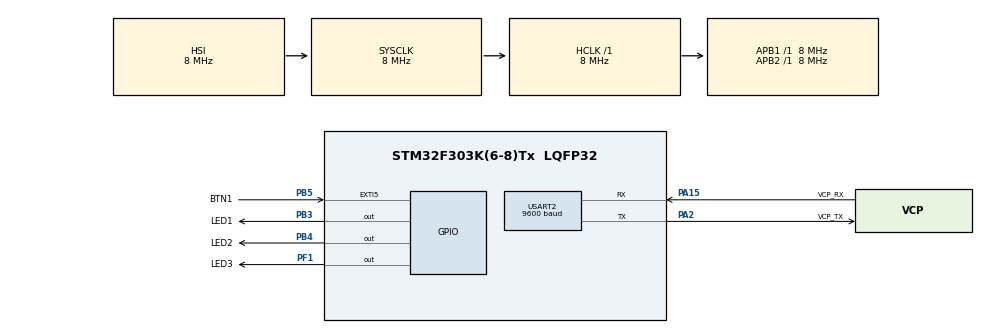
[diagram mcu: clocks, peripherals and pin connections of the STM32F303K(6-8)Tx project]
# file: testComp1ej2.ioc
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Mcu.Family=STM32F3
Mcu.Name=STM32F303K(6-8)Tx
Mcu.Package=LQFP32
NVIC.EXTI9_5_IRQn=true\:0\:0\:false\:false\:true\:true\:true\:true
NVIC.PriorityGroup=NVIC_PRIORITYGROUP_4
NVIC.USART2_IRQn=true\:0\:0\:false\:false\:true\:true\:true\:true
PA13.GPIO_Label=SWDIO
PA13.Signal=SYS_JTMS-SWDIO
PA14.GPIO_Label=SWCLK
PA14.Signal=SYS_JTCK-SWCLK
PA15.GPIO_Label=VCP_RX
PA15.Mode=Asynchronous
PA15.Signal=USART2_RX
PA2.GPIO_Label=VCP_TX
PA2.Mode=Asynchronous
PA2.Signal=USART2_TX
PB3.GPIO_Label=LED1
PB3.Signal=GPIO_Output
PB4.GPIO_Label=LED2
PB4.Signal=GPIO_Output
PB5.GPIO_Label=BTN1
PB5.GPIO_ModeDefaultEXTI=GPIO_MODE_IT_FALLING
PB5.Signal=GPXTI5
PF0\ /\ OSC_IN.GPIO_Label=MCO
PF0\ /\ OSC_IN.Signal=RCC_OSC_IN
PF1\ /\ OSC_OUT.GPIO_Label=LED3
PF1\ /\ OSC_OUT.Signal=GPIO_Output
ProjectManager.HeapSize=0x200
ProjectManager.StackSize=0x400
ProjectManager.TargetToolchain=STM32CubeIDE
RCC.AHBFreq_Value=8000000
RCC.APB1Freq_Value=8000000
RCC.APB2Freq_Value=8000000
RCC.CortexFreq_Value=8000000
RCC.HSE_VALUE=8000000
RCC.HSI_VALUE=8000000
RCC.SYSCLKFreq_VALUE=8000000
USART2.BaudRate=9600
USART2.VirtualMode-Asynchronous=VM_ASYNC
board=NUCLEO-F303K8

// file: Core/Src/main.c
/* USER CODE BEGIN Header */
/**
  ******************************************************************************
  * @file           : main.c
  * @brief          : Main program body
  ******************************************************************************
  * @attention
  *
  * Copyright (c) 2025 STMicroelectronics.
  * All rights reserved.
  *
  * This software is licensed under terms that can be found in the LICENSE file
  * in the root directory of this software component.
  * If no LICENSE file comes with this software, it is provided AS-IS.
  *
  ******************************************************************************
  */
/* USER CODE END Header */
#include "main.h"

/* USER CODE BEGIN Includes */
#include <string.h>
#include <stdbool.h>
/* USER CODE END Includes */

/* USER CODE BEGIN PD */
#define DB_TIME 250
/* USER CODE END PD */

UART_HandleTypeDef huart2;

/* USER CODE BEGIN PV */
unsigned long lastState = 0;
uint8_t mainCounter = 0;
/* USER CODE END PV */

void SystemClock_Config(void);
static void MX_GPIO_Init(void);
static void MX_USART2_UART_Init(void);
/* USER CODE BEGIN PFP */
char* utoa(uint32_t value, char* buffer);
void printUtoa(uint32_t value);
void printMessages(uint8_t Index, int Fibo);
char* itoa(int value, char* buffer);
void printInt(int value);
int obtener_fibonacci(int indice);

/* USER CODE END PFP */

int main(void)
{

  /* MCU Configuration--------------------------------------------------------*/

  /* Reset of all peripherals, Initializes the Flash interface and the Systick. */
  HAL_Init();

  /* Configure the system clock */
  SystemClock_Config();

  /* Initialize all configured peripherals */
  MX_GPIO_Init();
  MX_USART2_UART_Init();

  /* Infinite loop */
  /* USER CODE BEGIN WHILE */
  printMessages(mainCounter, obtener_fibonacci(mainCounter));
  if ((obtener_fibonacci(mainCounter)) == 0){
	   HAL_GPIO_WritePin(LED1_GPIO_Port, LED1_Pin, RESET); // Bit 0
	   HAL_GPIO_WritePin(LED2_GPIO_Port, LED2_Pin, RESET); // Bit 1
	   HAL_GPIO_WritePin(LED3_GPIO_Port, LED3_Pin, RESET); // Bit 2
  	  	  }
  while (1)
  {
	  if ((obtener_fibonacci(mainCounter)) == 0){
		  HAL_GPIO_WritePin(LED1_GPIO_Port, LED1_Pin, RESET);
		  HAL_GPIO_WritePin(LED2_GPIO_Port, LED2_Pin, RESET);
		  HAL_GPIO_WritePin(LED3_GPIO_Port, LED3_Pin, RESET);
	  	  }
	  else if ((obtener_fibonacci(mainCounter) % 2)  == 0 && (obtener_fibonacci(mainCounter) < 10)){
		  HAL_GPIO_WritePin(LED1_GPIO_Port, LED1_Pin, SET);
		  HAL_GPIO_WritePin(LED2_GPIO_Port, LED2_Pin, RESET);
		  HAL_GPIO_WritePin(LED3_GPIO_Port, LED3_Pin, RESET);
	  }
	  else if ((obtener_fibonacci(mainCounter) % 2) != 0 && (obtener_fibonacci(mainCounter) < 10)){
		  HAL_GPIO_WritePin(LED1_GPIO_Port, LED1_Pin, RESET);
		  HAL_GPIO_WritePin(LED2_GPIO_Port, LED2_Pin, SET);
		  HAL_GPIO_WritePin(LED3_GPIO_Port, LED3_Pin, RESET);
	 }
	  else if ((obtener_fibonacci(mainCounter)) >= 10 ){
		  HAL_GPIO_WritePin(LED1_GPIO_Port, LED1_Pin, RESET);
		  HAL_GPIO_WritePin(LED2_GPIO_Port, LED2_Pin, RESET);
		  HAL_GPIO_WritePin(LED3_GPIO_Port, LED3_Pin, SET);
	  }
    /* USER CODE END WHILE */

  }
}

void SystemClock_Config(void)
{
  RCC_OscInitTypeDef RCC_OscInitStruct = {0};
  RCC_ClkInitTypeDef RCC_ClkInitStruct = {0};

  /** Initializes the RCC Oscillators according to the specified parameters
  * in the RCC_OscInitTypeDef structure.
  */
  RCC_OscInitStruct.OscillatorType = RCC_OSCILLATORTYPE_HSI;
  RCC_OscInitStruct.HSIState = RCC_HSI_ON;
  RCC_OscInitStruct.HSICalibrationValue = RCC_HSICALIBRATION_DEFAULT;
  RCC_OscInitStruct.PLL.PLLState = RCC_PLL_NONE;
  if (HAL_RCC_OscConfig(&RCC_OscInitStruct) != HAL_OK)
  {
    Error_Handler();
  }

  /** Initializes the CPU, AHB and APB buses clocks
  */
  RCC_ClkInitStruct.ClockType = RCC_CLOCKTYPE_HCLK|RCC_CLOCKTYPE_SYSCLK
                              |RCC_CLOCKTYPE_PCLK1|RCC_CLOCKTYPE_PCLK2;
  RCC_ClkInitStruct.SYSCLKSource = RCC_SYSCLKSOURCE_HSI;
  RCC_ClkInitStruct.AHBCLKDivider = RCC_SYSCLK_DIV1;
  RCC_ClkInitStruct.APB1CLKDivider = RCC_HCLK_DIV1;
  RCC_ClkInitStruct.APB2CLKDivider = RCC_HCLK_DIV1;

  if (HAL_RCC_ClockConfig(&RCC_ClkInitStruct, FLASH_LATENCY_0) != HAL_OK)
  {
    Error_Handler();
  }
}

static void MX_USART2_UART_Init(void)
{

  huart2.Instance = USART2;
  huart2.Init.BaudRate = 9600;
  huart2.Init.WordLength = UART_WORDLENGTH_8B;
  huart2.Init.StopBits = UART_STOPBITS_1;
  huart2.Init.Parity = UART_PARITY_NONE;
  huart2.Init.Mode = UART_MODE_TX_RX;
  huart2.Init.HwFlowCtl = UART_HWCONTROL_NONE;
  huart2.Init.OverSampling = UART_OVERSAMPLING_16;
  huart2.Init.OneBitSampling = UART_ONE_BIT_SAMPLE_DISABLE;
  huart2.AdvancedInit.AdvFeatureInit = UART_ADVFEATURE_NO_INIT;
  if (HAL_UART_Init(&huart2) != HAL_OK)
  {
    Error_Handler();
  }

}

static void MX_GPIO_Init(void)
{
  GPIO_InitTypeDef GPIO_InitStruct = {0};

  /* GPIO Ports Clock Enable */
  __HAL_RCC_GPIOF_CLK_ENABLE();
  __HAL_RCC_GPIOA_CLK_ENABLE();
  __HAL_RCC_GPIOB_CLK_ENABLE();

  /*Configure GPIO pin Output Level */
  HAL_GPIO_WritePin(LED3_GPIO_Port, LED3_Pin, GPIO_PIN_RESET);

  /*Configure GPIO pin Output Level */
  HAL_GPIO_WritePin(GPIOB, LED1_Pin|LED2_Pin, GPIO_PIN_RESET);

  /*Configure GPIO pin : LED3_Pin */
  GPIO_InitStruct.Pin = LED3_Pin;
  GPIO_InitStruct.Mode = GPIO_MODE_OUTPUT_PP;
  GPIO_InitStruct.Pull = GPIO_NOPULL;
  GPIO_InitStruct.Speed = GPIO_SPEED_FREQ_LOW;
  HAL_GPIO_Init(LED3_GPIO_Port, &GPIO_InitStruct);

  /*Configure GPIO pins : LED1_Pin LED2_Pin */
  GPIO_InitStruct.Pin = LED1_Pin|LED2_Pin;
  GPIO_InitStruct.Mode = GPIO_MODE_OUTPUT_PP;
  GPIO_InitStruct.Pull = GPIO_NOPULL;
  GPIO_InitStruct.Speed = GPIO_SPEED_FREQ_LOW;
  HAL_GPIO_Init(GPIOB, &GPIO_InitStruct);

  /*Configure GPIO pin : BTN1_Pin */
  GPIO_InitStruct.Pin = BTN1_Pin;
  GPIO_InitStruct.Mode = GPIO_MODE_IT_FALLING;
  GPIO_InitStruct.Pull = GPIO_NOPULL;
  HAL_GPIO_Init(BTN1_GPIO_Port, &GPIO_InitStruct);

  /* EXTI interrupt init*/
  HAL_NVIC_SetPriority(EXTI9_5_IRQn, 0, 0);
  HAL_NVIC_EnableIRQ(EXTI9_5_IRQn);

}

/* USER CODE BEGIN 4 */

void HAL_GPIO_EXTI_Callback(uint16_t GPIO_Pin)
{
	if (GPIO_Pin == GPIO_PIN_5) {
		if(HAL_GPIO_ReadPin(BTN1_GPIO_Port, BTN1_Pin) == 0){
			if ((HAL_GetTick() - lastState) > DB_TIME){
				if (mainCounter>=0 && mainCounter <7){
					mainCounter++;
					printMessages(mainCounter, obtener_fibonacci(mainCounter));
				}
				else {
					mainCounter=0;
					printMessages(mainCounter, obtener_fibonacci(mainCounter));
				}
			}
		  	lastState=HAL_GetTick();
		}
    }
}

int obtener_fibonacci(int indice) {
	if (indice == 0) return 0;
	if (indice == 1) return 1;
	int a = 0;
	int b = 1;
	int resultado = 0;
	for (int i = 2; i <= indice; i++) {
			resultado = a + b;
			a = b;
			b = resultado;
	}
	return resultado;
}

char* utoa(uint32_t value, char* buffer) {
    char* ptr = buffer;
    char* ptr1 = buffer;
    char tmp_char;
    uint32_t tmp_value;
    do {
        tmp_value = value;
        value /= 10;
        *ptr++ = '0' + (tmp_value - (value * 10));
    } while (value != 0);

    *ptr-- = '\0';
    while (ptr1 < ptr) {
        tmp_char = *ptr;
        *ptr-- = *ptr1;
        *ptr1++ = tmp_char;
    }

    return buffer;
}
void printUtoa(uint32_t value) {
	static char buffer[12];
    utoa(value, buffer);
    HAL_UART_Transmit(&huart2, (uint8_t*)buffer, strlen(buffer), HAL_MAX_DELAY);
}

void printMessages(uint8_t Index, int Fibo){
	uint8_t bufferValue = 8;
	uint8_t bufferFactorial = 11;
	HAL_UART_Transmit(&huart2, (uint8_t*)"Indice: ", bufferValue, HAL_MAX_DELAY);
	printUtoa(Index);
	HAL_UART_Transmit(&huart2, (uint8_t*)"\t", 1, HAL_MAX_DELAY);
	HAL_UART_Transmit(&huart2, (uint8_t*)"Fibonacci: ", bufferFactorial, HAL_MAX_DELAY);
	printInt(Fibo);
	HAL_UART_Transmit(&huart2, (uint8_t*)"\n", 1, HAL_MAX_DELAY);
}

char* itoa(int value, char* buffer) {
    char* ptr = buffer;
    char* ptr1 = buffer;
    char tmp_char;
    int tmp_value;
    bool isNegative = false;

    if (value < 0) {
        isNegative = true;
        value = -value;
    }

    // Conversión a decimal fijo (base 10)
    do {
        tmp_value = value;
        value /= 10;
        *ptr++ = '0' + (tmp_value - (value * 10));
    } while (value != 0);

    if (isNegative) {
        *ptr++ = '-';
    }

    *ptr-- = '\0';

    while (ptr1 < ptr) {
        tmp_char = *ptr;
        *ptr-- = *ptr1;
        *ptr1++ = tmp_char;
    }

    return buffer;
}

void printInt(int value) {

	static char buffer[22];  // Suficiente para -2147483648 + '\0'
	itoa(value, buffer);     // Convertir número a decimal con signo
	HAL_UART_Transmit(&huart2, (uint8_t*)buffer, strlen(buffer), HAL_MAX_DELAY);
}
/* USER CODE END 4 */

void Error_Handler(void)
{
  __disable_irq();
  while (1)
  {
  }
}
